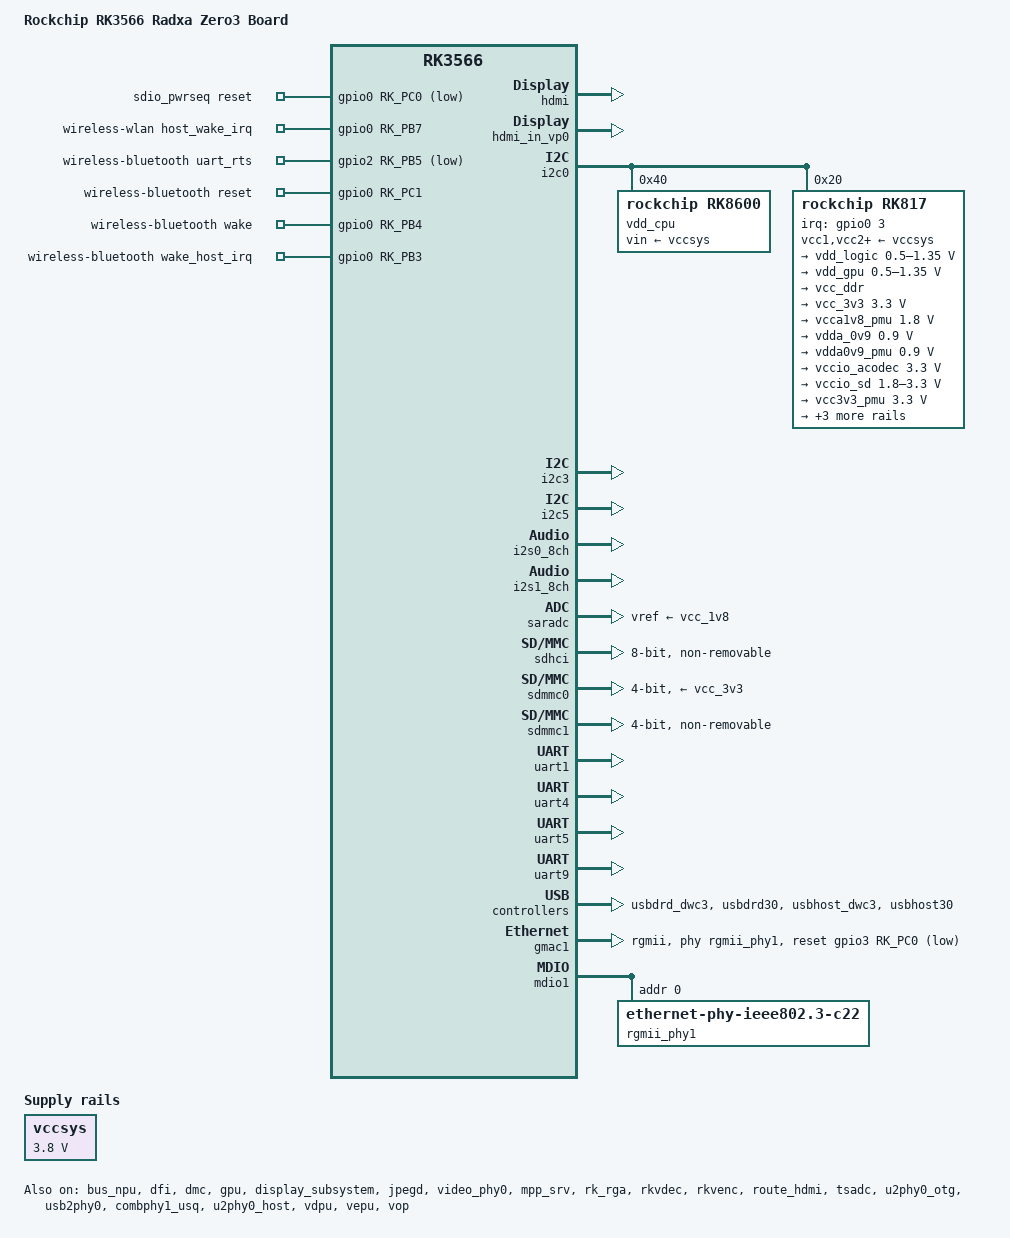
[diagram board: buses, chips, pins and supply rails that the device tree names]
// SPDX-License-Identifier: (GPL-2.0+ OR MIT)
/*
 * Copyright (c) 2020 Rockchip Electronics Co., Ltd.
 *
 */

/dts-v1/;

#include <dt-bindings/gpio/gpio.h>
#include <dt-bindings/pinctrl/rockchip.h>
#include <dt-bindings/input/rk-input.h>
#include <dt-bindings/sensor-dev.h>
#include <dt-bindings/display/drm_mipi_dsi.h>
#include "rk3566.dtsi"
#include "rk3568-android.dtsi"
#include "rk3566-radxa-zero3-imx219.dtsi"

/ {
	model = "Rockchip RK3566 Radxa Zero3 Board";
	compatible = "rockchip,rk3566-radxa-zero3", "rockchip,rk3566";

	hdmi_sound: hdmi-sound {
		compatible = "simple-audio-card";
		simple-audio-card,format = "i2s";
		simple-audio-card,mclk-fs = <128>;
		simple-audio-card,name = "rockchip,hdmi";
		status = "okay";

		simple-audio-card,cpu {
				sound-dai = <&i2s0_8ch>;
		};
		simple-audio-card,codec {
				sound-dai = <&hdmi>;
		};
	};

	// reserved_memory: reserved-memory {
	// 	#address-cells = <2>;
	// 	#size-cells = <2>;
	// 	ranges;

	// 	rknpu_reserved: rknpu {
	// 		compatible = "shared-dma-pool";
	// 		inactive;
	// 		reusable;
	// 		size = <0x0 0x08000000>;
	// 		alignment = <0x0 0x1000>;
	// 	};
	// };

	vccsys: vccsys {
		compatible = "regulator-fixed";
		regulator-name = "vcc3v8_sys";
		regulator-always-on;
		regulator-boot-on;
		regulator-min-microvolt = <3800000>;
		regulator-max-microvolt = <3800000>;
	};

	rk817-sound {
		compatible = "simple-audio-card";
		simple-audio-card,format = "i2s";
		simple-audio-card,name = "rockchip,rk817-codec";
		simple-audio-card,mclk-fs = <256>;

		simple-audio-card,cpu {
			sound-dai = <&i2s1_8ch>;
		};
		simple-audio-card,codec {
			sound-dai = <&rk817_codec>;
		};
	};

	sdio_pwrseq: sdio-pwrseq {
		compatible = "mmc-pwrseq-simple";
		clocks = <&rk817 1>;
		clock-names = "ext_clock";
		pinctrl-names = "default";
		pinctrl-0 = <&wifi_enable_h>;

		/*
		 * On the module itself this is one of these (depending
		 * on the actual card populated):
		 * - SDIO_RESET_L_WL_REG_ON
		 * - PDN (power down when low)
		 */
		post-power-on-delay-ms = <200>;
		reset-gpios = <&gpio0 RK_PC0 GPIO_ACTIVE_LOW>; //WIFI_REG_ON_H
	};

	// vcc_sd: vcc-sd {
	// 	compatible = "regulator-gpio";
	// 	enable-active-low;
	// 	enable-gpio = <&gpio0 RK_PA5 GPIO_ACTIVE_LOW>;
	// 	regulator-min-microvolt = <3300000>;
	// 	regulator-max-microvolt = <3300000>;
	// 	pinctrl-names = "default";
	// 	pinctrl-0 = <&vcc_sd_h>;
	// 	regulator-name = "vcc_sd";
	// 	states = <3300000 0x0
	// 		3300000 0x1>;
	// };

	wireless-wlan {
		compatible = "wlan-platdata";
		rockchip,grf = <&grf>;
		wifi_chip_type = "";
		pinctrl-names = "default";
		pinctrl-0 = <&wifi_host_wake_irq>;
		WIFI,host_wake_irq = <&gpio0 RK_PB7 GPIO_ACTIVE_HIGH>; //WIFI_WAKE_HOST_H
		status = "okay";
	};

	wireless-bluetooth {
		compatible = "bluetooth-platdata";
		clocks = <&rk817 1>;
		clock-names = "ext_clock";
		//wifi-bt-power-toggle;
		uart_rts_gpios = <&gpio2 RK_PB5 GPIO_ACTIVE_LOW>; //UART1_RTSn_M0
		pinctrl-names = "default", "rts_gpio";
		pinctrl-0 = <&uart1m0_rtsn>;
		pinctrl-1 = <&uart1_gpios>;
		BT,reset_gpio    = <&gpio0 RK_PC1 GPIO_ACTIVE_HIGH>;   //BT_REG_ON_H
		BT,wake_gpio     = <&gpio0 RK_PB4 GPIO_ACTIVE_HIGH>;   //HOST_WAKE_BT_H
		BT,wake_host_irq = <&gpio0 RK_PB3 GPIO_ACTIVE_HIGH>;   //BT_WAKE_HOST_H
		status = "okay";
	};
};

&bus_npu {
	bus-supply = <&vdd_logic>;
	pvtm-supply = <&vdd_cpu>;
	status = "okay";
};

&cpu0 {
	cpu-supply = <&vdd_cpu>;
};

&dfi {
	status = "okay";
};

&dmc {
	auto-freq-en = <0>;
	center-supply = <&vdd_logic>;
	status = "okay";
};

&gpu {
	mali-supply = <&vdd_gpu>;
	status = "okay";
};

&display_subsystem {
    status = "okay";
};

&hdmi {
	status = "okay";
};

&hdmi_in_vp0 {
	status = "okay";
};

&hdmi_in_vp1 {
	status = "disabled";
};

&hdmi_sound {
	status = "okay";
};

&i2c0 {
	status = "okay";

	vdd_cpu: rk8600@40 {
		status = "okay";
    	compatible = "rockchip,rk8600";
    	reg = <0x40>;
    	vin-supply = <&vccsys>;
    	regulator-compatible = "rk860x-reg";
    	regulator-name = "vdd_cpu";
    	regulator-min-microvolt = <712500>;
    	regulator-max-microvolt = <1390000>;
    	regulator-init-microvolt = <1000000>;
    	regulator-ramp-delay = <2300>;
    	rockchip,suspend-voltage-selector = <1>;
    	regulator-boot-on;
    	regulator-always-on;
    	regulator-state-mem {
        	regulator-off-in-suspend;
    	};
	};

	rk817: pmic@20 {
		compatible = "rockchip,rk817";
		reg = <0x20>;
		interrupt-parent = <&gpio0>;
		interrupts = <3 IRQ_TYPE_LEVEL_LOW>;

		pinctrl-names = "default", "pmic-sleep",
				"pmic-power-off", "pmic-reset";
		pinctrl-0 = <&pmic_int>;
		pinctrl-1 = <&soc_slppin_slp>, <&rk817_slppin_slp>;
		pinctrl-2 = <&soc_slppin_gpio>, <&rk817_slppin_pwrdn>;
		pinctrl-3 = <&soc_slppin_gpio>, <&rk817_slppin_rst>;
		rockchip,system-power-controller;
		wakeup-source;
		#clock-cells = <1>;
		clock-output-names = "rk808-clkout1", "rk808-clkout2";
		//fb-inner-reg-idxs = <2>;
		/* 1: rst regs (default in codes), 0: rst the pmic */
		pmic-reset-func = <0>;
		/* not save the PMIC_POWER_EN register in uboot */
		not-save-power-en = <1>;

		vcc1-supply = <&vccsys>;
		vcc2-supply = <&vccsys>;
		vcc3-supply = <&vccsys>;
		vcc4-supply = <&vccsys>;
		vcc5-supply = <&vccsys>;
		vcc6-supply = <&vccsys>;
		vcc7-supply = <&vccsys>;
		// vcc8-supply = <&vccsys>;
		// vcc9-supply = <&dcdc_boost>;

		pwrkey {
			status = "okay";
		};

		pinctrl_rk8xx: pinctrl_rk8xx {
			gpio-controller;
			#gpio-cells = <2>;

			rk817_slppin_null: rk817_slppin_null {
				pins = "gpio_slp";
				function = "pin_fun0";
			};

			rk817_slppin_slp: rk817_slppin_slp {
				pins = "gpio_slp";
				function = "pin_fun1";
			};

			rk817_slppin_pwrdn: rk817_slppin_pwrdn {
				pins = "gpio_slp";
				function = "pin_fun2";
			};

			rk817_slppin_rst: rk817_slppin_rst {
				pins = "gpio_slp";
				function = "pin_fun3";
			};
		};

		regulators {
			vdd_logic: DCDC_REG1 {
				regulator-always-on;
				regulator-boot-on;
				regulator-min-microvolt = <500000>;
				regulator-max-microvolt = <1350000>;
				regulator-init-microvolt = <900000>;
				regulator-ramp-delay = <6001>;
				regulator-initial-mode = <0x2>;
				regulator-name = "vdd_logic";
				regulator-state-mem {
					regulator-off-in-suspend;
					regulator-suspend-microvolt = <900000>;
				};
			};

			vdd_gpu: DCDC_REG2 {
				regulator-always-on;
				regulator-boot-on;
				regulator-min-microvolt = <500000>;
				regulator-max-microvolt = <1350000>;
				regulator-init-microvolt = <900000>;
				regulator-ramp-delay = <6001>;
				regulator-initial-mode = <0x2>;
				regulator-name = "vdd_gpu";
				regulator-state-mem {
					regulator-off-in-suspend;
				};
			};

			vcc_ddr: DCDC_REG3 {
				regulator-always-on;
				regulator-boot-on;
				regulator-initial-mode = <0x2>;
				regulator-name = "vcc_ddr";
				regulator-state-mem {
					regulator-on-in-suspend;
				};
			};

			vcc_3v3: DCDC_REG4 {
				regulator-always-on;
				regulator-boot-on;
				regulator-min-microvolt = <3300000>;
				regulator-max-microvolt = <3300000>;
				regulator-initial-mode = <0x2>;
				regulator-name = "vcc_3v3";
				regulator-state-mem {
					regulator-on-in-suspend;
					regulator-suspend-microvolt = <3300000>;
				};
			};

			vcca1v8_pmu: LDO_REG1 {
				regulator-always-on;
				regulator-boot-on;
				regulator-min-microvolt = <1800000>;
				regulator-max-microvolt = <1800000>;
				regulator-name = "vcca1v8_pmu";
				regulator-state-mem {
					regulator-on-in-suspend;
					regulator-suspend-microvolt = <1800000>;
				};
			};

			vdda_0v9: LDO_REG2 {
				regulator-always-on;
				regulator-boot-on;
				regulator-min-microvolt = <900000>;
				regulator-max-microvolt = <900000>;
				regulator-name = "vdda_0v9";
				regulator-state-mem {
					regulator-off-in-suspend;
				};
			};

			vdda0v9_pmu: LDO_REG3 {
				regulator-always-on;
				regulator-boot-on;
				regulator-min-microvolt = <900000>;
				regulator-max-microvolt = <900000>;
				regulator-name = "vdda0v9_pmu";
				regulator-state-mem {
					regulator-on-in-suspend;
					regulator-suspend-microvolt = <900000>;
				};
			};

			vccio_acodec: LDO_REG4 {
				regulator-always-on;
				regulator-boot-on;
				regulator-min-microvolt = <3300000>;
				regulator-max-microvolt = <3300000>;
				regulator-name = "vccio_acodec";
				regulator-state-mem {
					regulator-off-in-suspend;
				};
			};

			vccio_sd: LDO_REG5 {
				regulator-always-on;
				regulator-boot-on;
				regulator-min-microvolt = <1800000>;
				regulator-max-microvolt = <3300000>;
				regulator-name = "vccio_sd";
				regulator-state-mem {
					regulator-off-in-suspend;
				};
			};

			vcc3v3_pmu: LDO_REG6 {
				regulator-always-on;
				regulator-boot-on;
				regulator-min-microvolt = <3300000>;
				regulator-max-microvolt = <3300000>;
				regulator-name = "vcc3v3_pmu";
				regulator-state-mem {
					regulator-on-in-suspend;
					regulator-suspend-microvolt = <3000000>;
				};
			};

			vcc_1v8: LDO_REG7 {
				regulator-always-on;
				regulator-boot-on;
				regulator-min-microvolt = <1800000>;
				regulator-max-microvolt = <1800000>;
				regulator-name = "vcc_1v8";
				regulator-state-mem {
					regulator-off-in-suspend;
				};
			};

			vcc1v8_dvp: LDO_REG8 {
				regulator-always-on;
				regulator-boot-on;
				regulator-min-microvolt = <1800000>;
				regulator-max-microvolt = <1800000>;
				regulator-name = "vcc1v8_dvp";
				regulator-state-mem {
					regulator-off-in-suspend;
				};
			};

			vcc2v8_dvp: LDO_REG9 {
				regulator-always-on;
				regulator-boot-on;
				regulator-min-microvolt = <2800000>;
				regulator-max-microvolt = <2800000>;
				regulator-name = "vcc2v8_dvp";
				regulator-state-mem {
					regulator-off-in-suspend;
				};
			};
		};

		charger {
			compatible = "rk817,charger";
			min_input_voltage = <4500>;
			max_input_current = <1500>;
			max_chrg_current = <2000>;
			max_chrg_voltage = <4300>;
			chrg_term_mode = <0>;
			chrg_finish_cur = <300>;
			virtual_power = <0>;
			dc_det_adc = <0>;
			extcon = <&usb2phy0>;
		};

		rk817_codec: codec {
			#sound-dai-cells = <0>;
			compatible = "rockchip,rk817-codec";
			clocks = <&cru I2S1_MCLKOUT>;
			clock-names = "mclk";
			assigned-clocks = <&cru I2S1_MCLKOUT>, <&cru I2S1_MCLK_TX_IOE>;
			assigned-clock-rates = <12288000>;
			assigned-clock-parents = <&cru I2S1_MCLKOUT_TX>, <&cru I2S1_MCLKOUT_TX>;
			pinctrl-names = "default";
			pinctrl-0 = <&i2s1m0_mclk>;
			hp-volume = <20>;
			spk-volume = <3>;
			out-l2spk-r2hp;
			spk-ctl-gpios = <&gpio0 RK_PA6 GPIO_ACTIVE_HIGH>;
			status = "okay";
		};
	};
};

// &i2c2 {
// 	status = "okay";
// };

&i2c3 {
	status = "okay";
};

&i2c5 {
	status = "okay";
};

&i2s0_8ch {
	status = "okay";
};

&i2s1_8ch {
	status = "okay";
	rockchip,clk-trcm = <1>;
	pinctrl-names = "default";
	pinctrl-0 = <&i2s1m0_sclktx
		     &i2s1m0_lrcktx
		     &i2s1m0_sdi0
		     &i2s1m0_sdo0>;
};

&jpegd {
	status = "okay";
};

&jpegd_mmu {
	status = "okay";
};

&video_phy0 {
	status = "okay";
};

&mpp_srv {
	status = "okay";
};

&pinctrl {
	pmic {
		pmic_int: pmic_int {
			rockchip,pins =
				<0 RK_PA3 RK_FUNC_GPIO &pcfg_pull_up>;
		};

		soc_slppin_gpio: soc_slppin_gpio {
			rockchip,pins =
				<0 RK_PA2 RK_FUNC_GPIO &pcfg_output_low_pull_down>;
		};

		soc_slppin_slp: soc_slppin_slp {
			rockchip,pins =
				<0 RK_PA2 1 &pcfg_pull_up>;
		};

		soc_slppin_rst: soc_slppin_rst {
			rockchip,pins =
				<0 RK_PA2 2 &pcfg_pull_none>;
		};
	};

	sdio-pwrseq {
		wifi_enable_h: wifi-enable-h {
			rockchip,pins = <0 RK_PC0 RK_FUNC_GPIO &pcfg_pull_none>;
		};
	};

	// vcc_sd {
	// 	vcc_sd_h: vcc-sd-h {
	// 		rockchip,pins = <0 RK_PA5 RK_FUNC_GPIO &pcfg_pull_none>;
	// 	};
	// };

	wireless-wlan {
		wifi_host_wake_irq: wifi-host-wake-irq {
			rockchip,pins = <0 RK_PB7 RK_FUNC_GPIO &pcfg_pull_none>;
		};
	};

	wireless-bluetooth {
		uart1_gpios: uart1-gpios {
			rockchip,pins = <2 RK_PB5 RK_FUNC_GPIO &pcfg_pull_none>;
		};
	};
};

&pmu_io_domains {
	status = "okay";
	pmuio1-supply = <&vcc3v3_pmu>;
	pmuio2-supply = <&vcca1v8_pmu>;
	vccio1-supply = <&vccio_acodec>;
	vccio3-supply = <&vccio_sd>;
	vccio4-supply = <&vcc_1v8>;
	vccio5-supply = <&vcc_3v3>;
	vccio6-supply = <&vcc_3v3>;
	vccio7-supply = <&vcc_3v3>;
};

&rk_rga {
	status = "okay";
};

// &rkisp {
// 	status = "okay";
// };

// &rkisp_mmu {
// 	status = "okay";
// };

&rkvdec {
	status = "okay";
};

&rkvdec_mmu {
	status = "okay";
};

&rkvenc {
	status = "okay";
};

&rkvenc_mmu {
	status = "okay";
};

&route_hdmi {
	status = "okay";
	connect = <&vp0_out_hdmi>;
};

&saradc {
	status = "okay";
	vref-supply = <&vcc_1v8>;
};

&sdhci {
	bus-width = <8>;
	supports-emmc;
	non-removable;
	rockchip,txclk-tapnum = <0x8>;
	max-frequency = <200000000>;
	status = "okay";
};

&sdmmc0 {
	max-frequency = <150000000>;
	supports-sd;
	bus-width = <4>;
	cap-mmc-highspeed;
	cap-sd-highspeed;
	disable-wp;
	sd-uhs-sdr104;
	vmmc-supply = <&vcc_3v3>;
	vqmmc-supply = <&vccio_sd>;
	pinctrl-names = "default";
	pinctrl-0 = <&sdmmc0_bus4 &sdmmc0_clk &sdmmc0_cmd &sdmmc0_det>;
	status = "okay";
};

&sdmmc1 {
	max-frequency = <150000000>;
	supports-sdio;
	bus-width = <4>;
	disable-wp;
	cap-sd-highspeed;
	cap-sdio-irq;
	keep-power-in-suspend;
	mmc-pwrseq = <&sdio_pwrseq>;
	non-removable;
	pinctrl-names = "default";
	pinctrl-0 = <&sdmmc1_bus4 &sdmmc1_cmd &sdmmc1_clk>;
	sd-uhs-sdr104;
	rockchip,default-sample-phase = <90>;
	status = "okay";
};

&tsadc {
	status = "okay";
};

&uart1 {
	status = "okay";
	pinctrl-names = "default";
	pinctrl-0 = <&uart1m0_xfer &uart1m0_ctsn>;
};

&uart4 {
	status = "okay";
	pinctrl-names = "default";
	pinctrl-0 = <&uart4m1_xfer>;
};

&uart5 {
	status = "okay";
	pinctrl-names = "default";
	pinctrl-0 = <&uart5m1_xfer>;
};

&uart9 {
	status = "okay";
	pinctrl-names = "default";
	pinctrl-0 = <&uart9m1_xfer>;
};

&u2phy0_otg {
	status = "okay";
};

&usb2phy0 {
	status = "okay";
};

&usbdrd_dwc3 {
	status = "okay";
};

&usbdrd30 {
	status = "okay";
};

&combphy1_usq {
	status = "okay";
};

&u2phy0_host {
	status = "okay";
};

&usbhost_dwc3 {
	status = "okay";
};

&usbhost30 {
	status = "okay";
};

&vdpu {
	status = "okay";
};

&vdpu_mmu {
	status = "okay";
};

&vepu {
	status = "okay";
};

&vepu_mmu {
	status = "okay";
};

&vop {
	status = "okay";
	assigned-clocks = <&cru DCLK_VOP0>, <&cru DCLK_VOP1>;
	assigned-clock-parents = <&pmucru PLL_HPLL>, <&cru PLL_VPLL>;
};

&vop_mmu {
	status = "okay";
};

&reserved_memory {
	ramoops: ramoops@110000 {
		compatible = "ramoops";
		reg = <0x0 0x110000 0x0 0xf0000>;
		record-size = <0x20000>;
		console-size = <0x80000>;
		ftrace-size = <0x00000>;
		pmsg-size = <0x50000>;
	};
};

&gmac1 {
	phy-mode = "rgmii";
	clock_in_out = "output";

	snps,reset-gpio = <&gpio3 RK_PC0 GPIO_ACTIVE_LOW>; //GMAC1_RSTn_GPIO3_C0
	snps,reset-active-low;
	/* Reset time is 20ms, 100ms for rtl8211f */
	snps,reset-delays-us = <0 50000 150000>;

	assigned-clocks = <&cru SCLK_GMAC1_RX_TX>, <&cru SCLK_GMAC1>;
	assigned-clock-parents = <&cru SCLK_GMAC1_RGMII_SPEED>;
	assigned-clock-rates = <0>, <125000000>;

	pinctrl-names = "default";
	pinctrl-0 = <&gmac1m1_miim
		     &gmac1m1_tx_bus2
		     &gmac1m1_rx_bus2
		     &gmac1m1_rgmii_clk
		     &gmac1m1_rgmii_bus>;

	tx_delay = <0x36>;
	rx_delay = <0x2d>;

	phy-handle = <&rgmii_phy1>;
	status = "okay";
};

&mdio1 {
	rgmii_phy1: phy@0 {
		compatible = "ethernet-phy-ieee802.3-c22";
		reg = <0x0>;
	};
};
